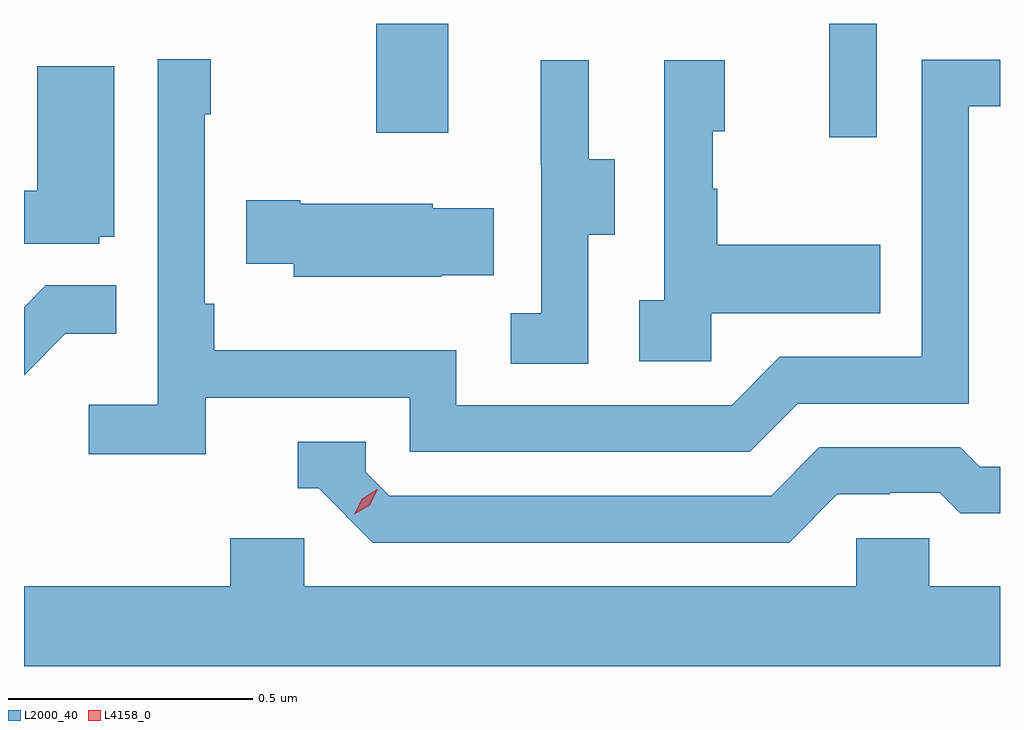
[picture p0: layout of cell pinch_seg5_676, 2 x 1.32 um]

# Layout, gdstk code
import gdstk
lib = gdstk.Library(unit=1e-6, precision=1e-09)
def R(c, l, rs):  # rectangles x0, y0, x1, y1
    for r in rs: c.add(gdstk.rectangle(r[:2], r[2:], *l))
def P(c, l, *ps):  # polygons
    for p in ps: c.add(gdstk.Polygon(p, *l))
L2000_40 = (2000, 40)
L4158_0 = (4158, 0)

pinch_seg5_676 = lib.new_cell('pinch_seg5_676')
R(pinch_seg5_676, L2000_40, [(1055.42,837.864,1055.517,838.096), (1054.492,837.873,1054.639,838.096)])
P(pinch_seg5_676, L2000_40, [(1054.142,837.33),(1054.56,837.33),(1054.56,837.219),(1055.257,837.219),(1055.356,837.318),(1055.706,837.318),(1055.706,837.927),(1055.77,837.927),(1055.77,838.023),(1055.61,838.023),(1055.61,837.414),(1055.319,837.414),(1055.22,837.315),(1054.656,837.315),(1054.656,837.427),(1054.16,837.427),(1054.16,837.523),(1054.14,837.523),(1054.14,837.911),(1054.153,837.911),(1054.153,838.024),(1054.044,838.024),(1054.044,837.316),(1053.903,837.316),(1053.903,837.214),(1054.142,837.214)],
  [(1055.178,837.503),(1055.525,837.503),(1055.525,837.643),(1055.191,837.643),(1055.191,837.758),(1055.181,837.758),(1055.181,837.876),(1055.206,837.876),(1055.206,838.021),(1055.082,838.021),(1055.082,837.53),(1055.031,837.53),(1055.031,837.405),(1055.178,837.405)],
  [(1054.926,837.664),(1054.981,837.664),(1054.981,837.819),(1054.927,837.819),(1054.927,838.021),(1054.829,838.021),(1054.829,837.807),(1054.83,837.807),(1054.83,837.503),(1054.767,837.503),(1054.767,837.4),(1054.926,837.4)],
  [(1053.924,837.66),(1053.955,837.66),(1053.955,838.009),(1053.797,838.009),(1053.797,837.754),(1053.77,837.754),(1053.77,837.645),(1053.924,837.645)],
  [(1054.625,837.581),(1054.733,837.581),(1054.733,837.718),(1054.608,837.718),(1054.608,837.727),(1054.336,837.727),(1054.336,837.735),(1054.225,837.735),(1054.225,837.605),(1054.323,837.605),(1054.323,837.578),(1054.625,837.578)],
  [(1053.855,837.461),(1053.959,837.461),(1053.959,837.56),(1053.815,837.56),(1053.77,837.515),(1053.77,837.376)],
  [(1055.437,837.132),(1055.544,837.132),(1055.544,837.135),(1055.647,837.135),(1055.689,837.093),(1055.77,837.093),(1055.77,837.189),(1055.728,837.189),(1055.689,837.228),(1055.4,837.228),(1055.301,837.129),(1054.518,837.129),(1054.47,837.177),(1054.47,837.24),(1054.331,837.24),(1054.331,837.144),(1054.374,837.144),(1054.485,837.033),(1055.338,837.033)],
  [(1055.77,836.944),(1055.625,836.944),(1055.625,837.042),(1055.475,837.042),(1055.475,836.944),(1054.344,836.944),(1054.344,837.042),(1054.193,837.042),(1054.193,836.944),(1053.77,836.944),(1053.77,836.78),(1055.77,836.78)])
P(pinch_seg5_676, L4158_0, [(1054.447,837.091),(1054.447,837.091),(1054.463,837.123),(1054.494,837.142),(1054.495,837.142),(1054.495,837.142),(1054.478,837.11),(1054.447,837.091)])

lib.write_gds('pinch_seg5_676.gds')
